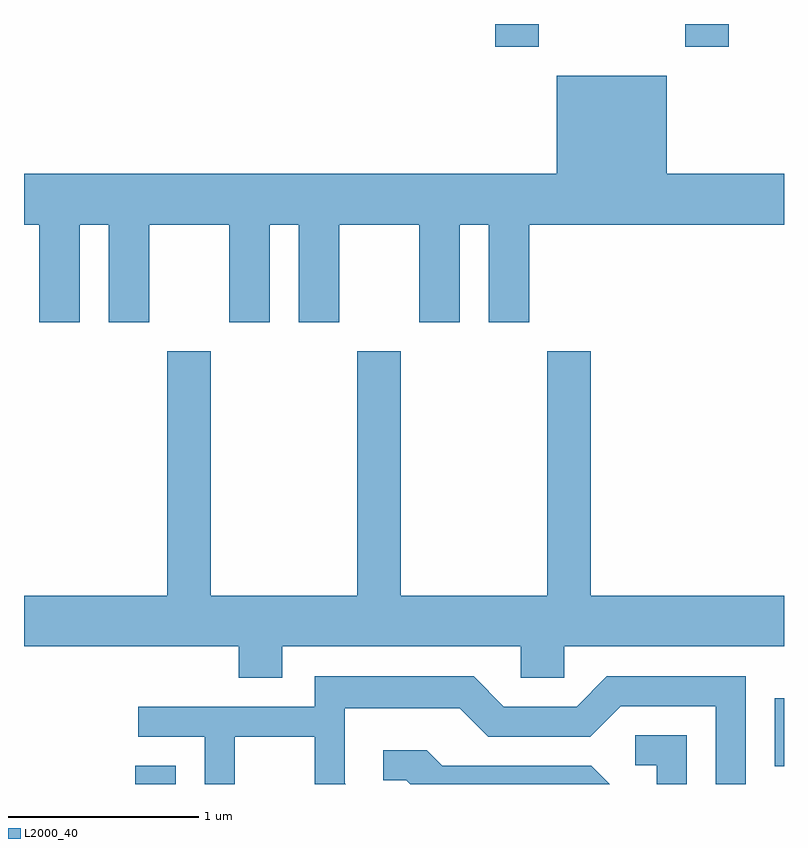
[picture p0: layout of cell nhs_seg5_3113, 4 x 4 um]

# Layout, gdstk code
import gdstk
lib = gdstk.Library(unit=1e-6, precision=1e-09)
def R(c, l, rs):  # rectangles x0, y0, x1, y1
    for r in rs: c.add(gdstk.rectangle(r[:2], r[2:], *l))
def P(c, l, *ps):  # polygons
    for p in ps: c.add(gdstk.Polygon(p, *l))
L2000_40 = (2000, 40)

nhs_seg5_3113 = lib.new_cell('nhs_seg5_3113')
R(nhs_seg5_3113, L2000_40, [(278.196,1456.072,278.409,1456.169), (281.561,1456.166,281.611,1456.523), (280.091,1459.951,280.319,1460.072), (281.091,1459.951,281.319,1460.072)])
P(nhs_seg5_3113, L2000_40, [(277.904,1459.016),(278.056,1459.016),(278.056,1458.501),(278.269,1458.501),(278.269,1459.016),(278.691,1459.016),(278.691,1458.501),(278.904,1458.501),(278.904,1459.016),(279.056,1459.016),(279.056,1458.501),(279.269,1458.501),(279.269,1459.016),(279.691,1459.016),(279.691,1458.501),(279.904,1458.501),(279.904,1459.016),(280.056,1459.016),(280.056,1458.501),(280.269,1458.501),(280.269,1459.016),(281.611,1459.016),(281.611,1459.284),(280.994,1459.284),(280.994,1459.799),(280.416,1459.799),(280.416,1459.284),(277.611,1459.284),(277.611,1459.016),(277.691,1459.016),(277.691,1458.501),(277.904,1458.501)],
  [(278.969,1456.796),(280.226,1456.796),(280.226,1456.631),(280.454,1456.631),(280.454,1456.796),(281.611,1456.796),(281.611,1457.064),(280.594,1457.064),(280.594,1458.349),(280.366,1458.349),(280.366,1457.064),(279.594,1457.064),(279.594,1458.349),(279.366,1458.349),(279.366,1457.064),(278.594,1457.064),(278.594,1458.349),(278.366,1458.349),(278.366,1457.064),(277.611,1457.064),(277.611,1456.796),(278.741,1456.796),(278.741,1456.631),(278.969,1456.631)],
  [(278.719,1456.321),(279.141,1456.321),(279.141,1456.072),(279.304,1456.072),(279.299,1456.077),(279.299,1456.471),(279.904,1456.471),(280.054,1456.321),(280.592,1456.321),(280.752,1456.481),(281.251,1456.481),(281.251,1456.072),(281.409,1456.072),(281.409,1456.639),(280.679,1456.639),(280.519,1456.479),(280.137,1456.479),(279.977,1456.639),(279.141,1456.639),(279.141,1456.479),(278.213,1456.479),(278.213,1456.321),(278.561,1456.321),(278.561,1456.072),(278.719,1456.072)],
  [(281.099,1456.329),(280.828,1456.329),(280.828,1456.171),(280.941,1456.171),(280.941,1456.072),(281.099,1456.072)],
  [(280.597,1456.169),(279.812,1456.169),(279.732,1456.249),(279.503,1456.249),(279.503,1456.091),(279.624,1456.091),(279.643,1456.072),(280.694,1456.072)])

lib.write_gds('nhs_seg5_3113.gds')
